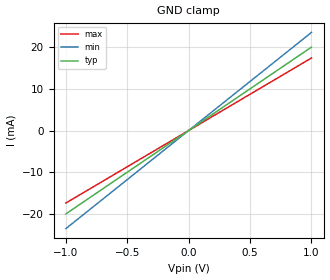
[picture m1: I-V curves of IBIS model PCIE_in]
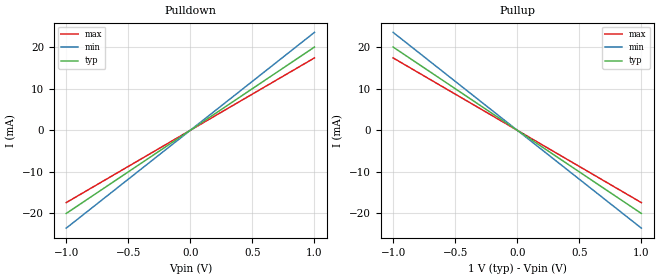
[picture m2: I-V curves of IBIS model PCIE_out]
| IBIS file IC1000_FPGA.ibs
[IBIS Ver]   5.1
[Comment Char]   |_char
[File Name]   IC1000_FPGA.ibs
[File Rev]   1.1
[Date]   Wed March 26
[Source]   TIEplus
[Notes]
[Disclaimer] IMPORTANT NOTICE
  This information is provided on an AS IS basis and without warranty.
  IN NO EVENT SHALL TIEplus BE LIABLE FOR INCIDENTAL OR CONSEQUENTIAL
  DAMAGES ARISING FROM USE OF THIS INFORMATION. THIS DISCLAIMER OF
  WARRANTY EXTENDS TO THE USER OF THE INFORMATION, AND TO THEIR CUSTOMERS
  OR USERS OF PRODUCTS  AND IS IN LIEU OF ALL WARRANTIES WHETHER EXPRESS,
  IMPLIED, OR STATUTORY, INCLUDING IMPLIED WARRANTIES OF MERCHANTPCIELITY
  OR FITNESS FOR PARTICULAR PURPOSE.
|   IC1000_FPGA
[Component]   IC1000_FPGA
[Manufacturer]   TIEplus
[Package]
| variable   typ   min   max
R_pkg   607.28m   41.43m   1364.09m
L_pkg   6.57nH   2.50nH   10.98nH
C_pkg   2.70pF   0.35pF   3.95pF
[Pin] signal_name   model_name   R_pin   L_pin   C_pin
A7   HS_RX0_P   PCIE_DIFF   0.60799   3.616e-09 1.350e-12
A9   HS_RX1_P   PCIE_DIFF   0.54622   3.626e-09 1.253e-12
A11   HS_RX2_P   PCIE_DIFF   0.56841   3.584e-09 1.412e-12
A13   HS_TX0_P   PCIE_DIFF   0.52662   3.690e-09 1.254e-12
B7   HS_RX0_N   PCIE_DIFF   0.48529   3.796e-09 1.403e-12
B9   HS_RX1_N   PCIE_DIFF   0.60984   3.658e-09 1.420e-12
B11   HS_RX2_N   PCIE_DIFF   0.50879   3.796e-09 1.411e-12
B13   HS_TX0_N   PCIE_DIFF   0.60644   3.657e-09 1.429e-12
E11   HS_TX1_P   PCIE_DIFF   0.52862   3.450e-09 1.344e-12
E13   HS_TX2_P   PCIE_DIFF   0.51568   3.423e-09 1.322e-12
F11   HS_TX1_N   PCIE_DIFF   0.45692   3.235e-09 1.342e-12
F13   HS_TX2_N   PCIE_DIFF   0.54592   3.258e-09 1.359e-12
[Diff Pin]  inv_pin  vdiff  tdelay_typ tdelay_min tdelay_max
A7   B7   NA   NA   NA   NA
A9   B9   NA   NA   NA   NA
A11   B11   NA   NA   NA   NA
A13   B13   NA   NA   NA   NA
E11   F11   NA   NA   NA   NA
E13   F13   NA   NA   NA   NA
|*   Model Selector   *
[Model Selector] PCIE_DIFF
PCIE_out   PCIE Serdes output
PCIE_in   PCIE Serdes input
| Models and submodels in the file (2): PCIE_in (Input), PCIE_out (Output)
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[Model] PCIE_in
Model_type  Input
Vinl=0.4
Vinh=0.6
| variable   typ   min   max
C_comp   0.0pF   0.0pF   0.0pF
[Temperature Range]   20   20   20
[Voltage range]   1.0   1.0   1.0
[GND Clamp]
|   Voltage   I(typ)   I(min)   I(max)
-1V       -20mA      -23.53mA   -17.39mA
0V        0A         0A         0A
1V        20mA       23.53mA    17.39mA
[Model] PCIE_out
Model_type  Output
Polarity Non-Inverting
Vmeas =   0.5
| variable   typ   min   max
C_comp   0.0pF   0.0pF   0.0pF
[Temperature Range]   20   20   20
[Voltage range]   1.0   1.0   1.0
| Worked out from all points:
|   slope of the pulldown table from 0 to 0.15 V, typ, clamps not added: 50 ohm
|   slope of the pullup table from 0 to 0.15 V, typ, clamps not added: 50 ohm
[Pulldown]
|   Voltage   I(typ)   I(min)   I(max)
|   100 Ohm   85 Ohm   115 Ohm
-1V       -20mA      -23.53mA   -17.39mA
0V        0A         0A         0A
1V        20mA       23.53mA    17.39mA
[Pullup]
|   Voltage   I(typ)   I(min)   I(max)
-1V       20mA       23.53mA    17.39mA
0V        0A         0A         0A
1V        -20mA      -23.53mA   -17.39mA
[Ramp]
| variable   typ   min   max
dV/dt_r   1.00/0.05E-09   1.00/0.05E-09   1.00/0.05E-09
dV/dt_f   1.00/0.05E-09   1.00/0.05E-09   1.00/0.05E-09
R_load = 50
| End [Model] PCIE_out
